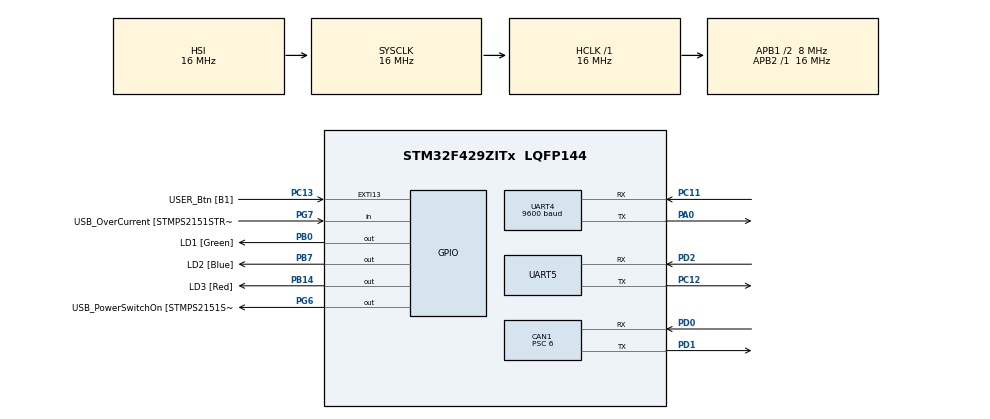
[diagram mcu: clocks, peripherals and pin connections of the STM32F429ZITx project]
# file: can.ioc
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CAN1.ABOM=ENABLE
CAN1.BS1=CAN_BS1_11TQ
CAN1.BS2=CAN_BS2_2TQ
CAN1.CalculateBaudRate=95238
CAN1.CalculateTimeBit=10500
CAN1.CalculateTimeQuantum=750.0
CAN1.Mode=CAN_MODE_LOOPBACK
CAN1.NART=ENABLE
CAN1.Prescaler=6
CAN1.TXFP=ENABLE
Dma.Request0=UART4_RX
Dma.Request1=UART5_RX
Dma.Request2=UART4_TX
Dma.UART4_RX.0.Direction=DMA_PERIPH_TO_MEMORY
Dma.UART4_RX.0.FIFOMode=DMA_FIFOMODE_DISABLE
Dma.UART4_RX.0.Instance=DMA1_Stream2
Dma.UART4_RX.0.MemDataAlignment=DMA_MDATAALIGN_BYTE
Dma.UART4_RX.0.MemInc=DMA_MINC_ENABLE
Dma.UART4_RX.0.Mode=DMA_NORMAL
Dma.UART4_RX.0.PeriphDataAlignment=DMA_PDATAALIGN_BYTE
Dma.UART4_RX.0.PeriphInc=DMA_PINC_DISABLE
Dma.UART4_RX.0.Priority=DMA_PRIORITY_LOW
Dma.UART4_TX.2.Direction=DMA_MEMORY_TO_PERIPH
Dma.UART4_TX.2.FIFOMode=DMA_FIFOMODE_DISABLE
Dma.UART4_TX.2.Instance=DMA1_Stream4
Dma.UART4_TX.2.MemDataAlignment=DMA_MDATAALIGN_BYTE
Dma.UART4_TX.2.MemInc=DMA_MINC_ENABLE
Dma.UART4_TX.2.Mode=DMA_NORMAL
Dma.UART4_TX.2.PeriphDataAlignment=DMA_PDATAALIGN_BYTE
Dma.UART4_TX.2.PeriphInc=DMA_PINC_DISABLE
Dma.UART4_TX.2.Priority=DMA_PRIORITY_LOW
Dma.UART5_RX.1.Direction=DMA_PERIPH_TO_MEMORY
Dma.UART5_RX.1.FIFOMode=DMA_FIFOMODE_DISABLE
Dma.UART5_RX.1.Instance=DMA1_Stream0
Dma.UART5_RX.1.MemDataAlignment=DMA_MDATAALIGN_BYTE
Dma.UART5_RX.1.MemInc=DMA_MINC_ENABLE
Dma.UART5_RX.1.Mode=DMA_NORMAL
Dma.UART5_RX.1.PeriphDataAlignment=DMA_PDATAALIGN_BYTE
Dma.UART5_RX.1.PeriphInc=DMA_PINC_DISABLE
Dma.UART5_RX.1.Priority=DMA_PRIORITY_LOW
FREERTOS.Queues01=QUEUE_t,10,uint8_t,0,Static,QUEUE_tBuffer,QUEUE_tControlBlock
FREERTOS.Tasks01=defaultTask,24,128,StartDefaultTask,Default,NULL,Dynamic,NULL,NULL;UARTTask,8,128,StartUARTTask,Default,NULL,Static,UARTTaskBuffer,UARTTaskControlBlock
FREERTOS.configUSE_NEWLIB_REENTRANT=1
Mcu.Family=STM32F4
Mcu.Name=STM32F429ZITx
Mcu.Package=LQFP144
NVIC.CAN1_RX0_IRQn=true\:5\:0\:false\:false\:true\:true\:true\:true\:true
NVIC.CAN1_SCE_IRQn=true\:5\:0\:false\:false\:true\:true\:true\:true\:true
NVIC.DMA1_Stream0_IRQn=true\:5\:0\:false\:false\:true\:true\:false\:true\:true
NVIC.DMA1_Stream2_IRQn=true\:5\:0\:false\:false\:true\:true\:false\:true\:true
NVIC.DMA1_Stream4_IRQn=true\:5\:0\:false\:false\:true\:true\:false\:true\:true
NVIC.PriorityGroup=NVIC_PRIORITYGROUP_4
NVIC.TIM1_UP_TIM10_IRQn=true\:5\:0\:false\:false\:true\:true\:true\:true\:true
NVIC.TIM8_TRG_COM_TIM14_IRQn=true\:15\:0\:false\:false\:true\:false\:false\:true\:true
NVIC.TimeBase=TIM8_TRG_COM_TIM14_IRQn
NVIC.TimeBaseIP=TIM14
NVIC.UART4_IRQn=true\:5\:0\:false\:false\:true\:true\:true\:true\:true
PA0/WKUP.Mode=Asynchronous
PA0/WKUP.Signal=UART4_TX
PA1.GPIO_Label=RMII_REF_CLK [LAN8742A-CZ-TR_REFCLK0]
PA1.Signal=ETH_REF_CLK
PA10.GPIO_Label=USB_ID
PA10.Signal=USB_OTG_FS_ID
PA11.GPIO_Label=USB_DM
PA11.Signal=USB_OTG_FS_DM
PA12.GPIO_Label=USB_DP
PA12.Signal=USB_OTG_FS_DP
PA13.GPIO_Label=TMS
PA13.Signal=SYS_JTMS-SWDIO
PA14.GPIO_Label=TCK
PA14.Signal=SYS_JTCK-SWCLK
PA2.GPIO_Label=RMII_MDIO [LAN8742A-CZ-TR_MDIO]
PA2.Signal=ETH_MDIO
PA7.GPIO_Label=RMII_CRS_DV [LAN8742A-CZ-TR_CRS_DV]
PA7.Signal=ETH_CRS_DV
PA8.GPIO_Label=USB_SOF [TP1]
PA8.Signal=USB_OTG_FS_SOF
PA9.GPIO_Label=USB_VBUS
PA9.Signal=USB_OTG_FS_VBUS
PB0.GPIO_Label=LD1 [Green]
PB0.Signal=GPIO_Output
PB13.GPIO_Label=RMII_TXD1 [LAN8742A-CZ-TR_TXD1]
PB13.Signal=ETH_TXD1
PB14.GPIO_Label=LD3 [Red]
PB14.Signal=GPIO_Output
PB7.GPIO_Label=LD2 [Blue]
PB7.Signal=GPIO_Output
PC1.GPIO_Label=RMII_MDC [LAN8742A-CZ-TR_MDC]
PC1.Signal=ETH_MDC
PC11.Mode=Asynchronous
PC11.Signal=UART4_RX
PC12.Mode=Asynchronous
PC12.Signal=UART5_TX
PC13.GPIO_Label=USER_Btn [B1]
PC13.Signal=GPXTI13
PC14/OSC32_IN.Signal=RCC_OSC32_IN
PC15/OSC32_OUT.Signal=RCC_OSC32_OUT
PC4.GPIO_Label=RMII_RXD0 [LAN8742A-CZ-TR_RXD0]
PC4.Signal=ETH_RXD0
PC5.GPIO_Label=RMII_RXD1 [LAN8742A-CZ-TR_RXD1]
PC5.Signal=ETH_RXD1
PD0.Mode=CAN_Activate
PD0.Signal=CAN1_RX
PD1.Mode=CAN_Activate
PD1.Signal=CAN1_TX
PD2.Mode=Asynchronous
PD2.Signal=UART5_RX
PD8.GPIO_Label=STLK_RX [STM32F103CBT6_PA3]
PD8.Signal=USART3_TX
PD9.GPIO_Label=STLK_TX [STM32F103CBT6_PA2]
PD9.Signal=USART3_RX
PG11.GPIO_Label=RMII_TX_EN [LAN8742A-CZ-TR_TXEN]
PG11.Signal=ETH_TX_EN
PG13.GPIO_Label=RMII_TXD0 [LAN8742A-CZ-TR_TXD0]
PG13.Signal=ETH_TXD0
PG6.GPIO_Label=USB_PowerSwitchOn [STMPS2151STR_EN]
PG6.Signal=GPIO_Output
PG7.GPIO_Label=USB_OverCurrent [STMPS2151STR_FAULT]
PG7.Signal=GPIO_Input
PH0/OSC_IN.GPIO_Label=MCO [STM32F103CBT6_PA8]
PH0/OSC_IN.Signal=RCC_OSC_IN
PH1/OSC_OUT.Signal=RCC_OSC_OUT
ProjectManager.HeapSize=0x200
ProjectManager.StackSize=0x400
ProjectManager.TargetToolchain=STM32CubeIDE
RCC.48MHZClocksFreq_Value=48000000
RCC.AHBFreq_Value=16000000
RCC.APB1CLKDivider=RCC_HCLK_DIV2
RCC.APB1Freq_Value=8000000
RCC.APB1TimFreq_Value=16000000
RCC.APB2Freq_Value=16000000
RCC.APB2TimFreq_Value=16000000
RCC.CortexFreq_Value=16000000
RCC.HCLKFreq_Value=16000000
RCC.HSE_VALUE=8000000
RCC.HSI_VALUE=16000000
RCC.LSE_VALUE=32768
RCC.PLLMUL=RCC_PLL_MUL9
RCC.PRESCALERUSB=RCC_USBCLKSOURCE_PLL_DIV1_5
RCC.SYSCLKFreq_VALUE=16000000
RCC.SYSCLKSourceVirtual=RCC_SYSCLKSOURCE_PLLCLK
RCC.USBFreq_Value=48000000
RCC.VCOOutputFreq_Value=192000000
TIM1.Prescaler=100
UART4.BaudRate=9600
UART4.VirtualMode=Asynchronous
UART5.VirtualMode=Asynchronous
VP_FREERTOS_VS_CMSIS_V2.Mode=CMSIS_V2
VP_SYS_VS_tim14.Mode=TIM14
VP_TIM1_VS_ClockSourceINT.Mode=Internal
board=NUCLEO-F429ZI

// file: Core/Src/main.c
/* USER CODE BEGIN Header */
/**
  ******************************************************************************
  * @file           : main.c
  * @brief          : Main program body
  ******************************************************************************
  * @attention
  *
  * Copyright (c) 2024 STMicroelectronics.
  * All rights reserved.
  *
  * This software is licensed under terms that can be found in the LICENSE file
  * in the root directory of this software component.
  * If no LICENSE file comes with this software, it is provided AS-IS.
  *
  ******************************************************************************
  */
/* USER CODE END Header */
#include "main.h"
#include "cmsis_os.h"
#include "can.h"
#include "dma.h"
#include "tim.h"
#include "usart.h"
#include "gpio.h"

/* USER CODE BEGIN Includes */
#include "string.h"
/* USER CODE END Includes */

/* USER CODE BEGIN PTD */
uint8_t buff[8] = { 0, };
/* USER CODE END PTD */

/* USER CODE BEGIN PV */
CAN_TxHeaderTypeDef TxHeader;
CAN_RxHeaderTypeDef RxHeader;
uint8_t TxData[8] = { 0, };
uint8_t RxData[8] = { 0, };
uint32_t TxMailbox = 0;
/* USER CODE END PV */

void SystemClock_Config(void);
void MX_FREERTOS_Init(void);

/* USER CODE BEGIN 0 */
typedef struct
{
	char buf[50];
}QUEUE_t;
/* USER CODE END 0 */

int main(void)
{

  /* MCU Configuration--------------------------------------------------------*/

  /* Reset of all peripherals, Initializes the Flash interface and the Systick. */
  HAL_Init();

  /* Configure the system clock */
  SystemClock_Config();

  /* Initialize all configured peripherals */
  MX_GPIO_Init();
  MX_DMA_Init();
  MX_CAN1_Init();
  MX_UART4_Init();
  MX_TIM1_Init();
  MX_UART5_Init();
  /* USER CODE BEGIN 2 */
  HAL_TIM_Base_Start_IT(&htim1);
  /* USER CODE END 2 */

  /* Init scheduler */
  osKernelInitialize();  /* Call init function for freertos objects (in freertos.c) */
  MX_FREERTOS_Init();

  /* Start scheduler */
  osKernelStart();

  /* We should never get here as control is now taken by the scheduler */
  /* Infinite loop */
  while (1)
  {

  }
}

void SystemClock_Config(void)
{
  RCC_OscInitTypeDef RCC_OscInitStruct = {0};
  RCC_ClkInitTypeDef RCC_ClkInitStruct = {0};

  /** Configure the main internal regulator output voltage
  */
  __HAL_RCC_PWR_CLK_ENABLE();
  __HAL_PWR_VOLTAGESCALING_CONFIG(PWR_REGULATOR_VOLTAGE_SCALE3);

  /** Initializes the RCC Oscillators according to the specified parameters
  * in the RCC_OscInitTypeDef structure.
  */
  RCC_OscInitStruct.OscillatorType = RCC_OSCILLATORTYPE_HSI;
  RCC_OscInitStruct.HSIState = RCC_HSI_ON;
  RCC_OscInitStruct.HSICalibrationValue = RCC_HSICALIBRATION_DEFAULT;
  RCC_OscInitStruct.PLL.PLLState = RCC_PLL_NONE;
  if (HAL_RCC_OscConfig(&RCC_OscInitStruct) != HAL_OK)
  {
    Error_Handler();
  }

  /** Initializes the CPU, AHB and APB buses clocks
  */
  RCC_ClkInitStruct.ClockType = RCC_CLOCKTYPE_HCLK|RCC_CLOCKTYPE_SYSCLK
                              |RCC_CLOCKTYPE_PCLK1|RCC_CLOCKTYPE_PCLK2;
  RCC_ClkInitStruct.SYSCLKSource = RCC_SYSCLKSOURCE_HSI;
  RCC_ClkInitStruct.AHBCLKDivider = RCC_SYSCLK_DIV1;
  RCC_ClkInitStruct.APB1CLKDivider = RCC_HCLK_DIV2;
  RCC_ClkInitStruct.APB2CLKDivider = RCC_HCLK_DIV1;

  if (HAL_RCC_ClockConfig(&RCC_ClkInitStruct, FLASH_LATENCY_0) != HAL_OK)
  {
    Error_Handler();
  }
}

/* USER CODE BEGIN 4 */
void HAL_UART_TxCpltCallback(UART_HandleTypeDef *huart)
{
	if (huart == &huart4)
	{

		//HAL_GPIO_TogglePin(LD1_GPIO_Port, LD1_Pin);
	}

}

/*void HAL_UART_ErrorCallback(UART_HandleTypeDef *huart)
{
	if (huart == &huart4)
	{
		uint32_t er = HAL_UART_GetError(&huart4);

		if (er & HAL_UART_ERROR_PE)
		{
			HAL_UART_Transmit(&huart4, (uint8_t*) "ERR_Callbck - Parity error\n", 27, 1000);
			__HAL_UART_CLEAR_PEFLAG(&huart4);
		}
		if (er & HAL_UART_ERROR_NE)
		{
			HAL_UART_Transmit(&huart4, (uint8_t*) "ERR_Callbck - Noise error\n", 26, 1000);
			__HAL_UART_CLEAR_NEFLAG(&huart4);
		}
		if (er & HAL_UART_ERROR_FE)
		{
			HAL_UART_Transmit(&huart4, (uint8_t*) "ERR_Callbck - Frame error\n", 26, 1000);
			__HAL_UART_CLEAR_FEFLAG(&huart4);
		}
		if (er & HAL_UART_ERROR_ORE)
		{
			HAL_UART_Transmit(&huart4, (uint8_t*) "ERR_Callbck - Overrun error\n", 28, 1000);
			__HAL_UART_CLEAR_OREFLAG(huart);
		}
		if (er & HAL_UART_ERROR_DMA)
		{
			HAL_UART_Transmit(&huart4, (uint8_t*) "ERR_Callbck - DMA transfer error\n", 33, 1000);
			__HAL_UART_CLEAR_NEFLAG(&huart4);
		}
		huart->ErrorCode = HAL_UART_ERROR_NONE;
	}
}*/
/* USER CODE END 4 */

void HAL_TIM_PeriodElapsedCallback(TIM_HandleTypeDef *htim)
{
  /* USER CODE BEGIN Callback 0 */
	if (htim->Instance == TIM1) {
		HAL_GPIO_TogglePin(LD2_GPIO_Port, LD2_Pin);
		//HAL_UART_Transmit(&huart4,(uint8_t*)"Hello\n\r\0",8,200);
	}
  /* USER CODE END Callback 0 */
  if (htim->Instance == TIM14) {
    HAL_IncTick();
  }
}

void Error_Handler(void)
{
  __disable_irq();
  while (1)
  {
  }
}

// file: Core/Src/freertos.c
/* USER CODE BEGIN Header */
/**
  ******************************************************************************
  * File Name          : freertos.c
  * Description        : Code for freertos applications
  ******************************************************************************
  * @attention
  *
  * Copyright (c) 2024 STMicroelectronics.
  * All rights reserved.
  *
  * This software is licensed under terms that can be found in the LICENSE file
  * in the root directory of this software component.
  * If no LICENSE file comes with this software, it is provided AS-IS.
  *
  ******************************************************************************
  */
/* USER CODE END Header */

#include "FreeRTOS.h"
#include "task.h"
#include "main.h"
#include "cmsis_os.h"

/* USER CODE BEGIN Includes */
#include "usart.h"
/* USER CODE END Includes */

typedef StaticTask_t osStaticThreadDef_t;
typedef StaticQueue_t osStaticMessageQDef_t;
/* USER CODE BEGIN PTD */
extern uint8_t buff[8];
/* USER CODE END PTD */

/* Definitions for defaultTask */
osThreadId_t defaultTaskHandle;
const osThreadAttr_t defaultTask_attributes = {
  .name = "defaultTask",
  .stack_size = 128 * 4,
  .priority = (osPriority_t) osPriorityNormal,
};
/* Definitions for UARTTask */
osThreadId_t UARTTaskHandle;
uint32_t UARTTaskBuffer[ 128 ];
osStaticThreadDef_t UARTTaskControlBlock;
const osThreadAttr_t UARTTask_attributes = {
  .name = "UARTTask",
  .cb_mem = &UARTTaskControlBlock,
  .cb_size = sizeof(UARTTaskControlBlock),
  .stack_mem = &UARTTaskBuffer[0],
  .stack_size = sizeof(UARTTaskBuffer),
  .priority = (osPriority_t) osPriorityLow,
};
/* Definitions for QUEUE_t */
osMessageQueueId_t QUEUE_tHandle;
uint8_t QUEUE_tBuffer[ 10 * sizeof( uint8_t ) ];
osStaticMessageQDef_t QUEUE_tControlBlock;
const osMessageQueueAttr_t QUEUE_t_attributes = {
  .name = "QUEUE_t",
  .cb_mem = &QUEUE_tControlBlock,
  .cb_size = sizeof(QUEUE_tControlBlock),
  .mq_mem = &QUEUE_tBuffer,
  .mq_size = sizeof(QUEUE_tBuffer)
};

void StartDefaultTask(void *argument);
void StartUARTTask(void *argument);

void MX_FREERTOS_Init(void); /* (MISRA C 2004 rule 8.1) */

void MX_FREERTOS_Init(void) {

  /* Create the queue(s) */
  /* creation of QUEUE_t */
  QUEUE_tHandle = osMessageQueueNew (10, sizeof(uint8_t), &QUEUE_t_attributes);

  /* Create the thread(s) */
  /* creation of defaultTask */
  defaultTaskHandle = osThreadNew(StartDefaultTask, NULL, &defaultTask_attributes);

  /* creation of UARTTask */
  UARTTaskHandle = osThreadNew(StartUARTTask, NULL, &UARTTask_attributes);

}

void StartDefaultTask(void *argument)
{
  for(;;)
  {
    osDelay(1);
  }
}

void StartUARTTask(void *argument)
{
  /* USER CODE BEGIN StartUARTTask */
  /* Infinite loop */
  for(;;)
  {

	  HAL_UART_Receive_IT(&huart4, (uint8_t*)buff, 11);
	  __HAL_UART_ENABLE_IT(&huart4,UART_IT_IDLE);
	  osDelay(1);
  }

  /* USER CODE END StartUARTTask */
}

/* USER CODE BEGIN Application */
void HAL_UART_RxCpltCallback(UART_HandleTypeDef *huart)
{
	if (huart == &huart4)
	{
		HAL_UART_Transmit(&huart4, (uint8_t*)buff, sizeof(buff), 200);
		HAL_UART_Transmit(&huart4, (uint8_t*)("AAAAA\n"), 6, 200);
	}
}
/* USER CODE END Application */
